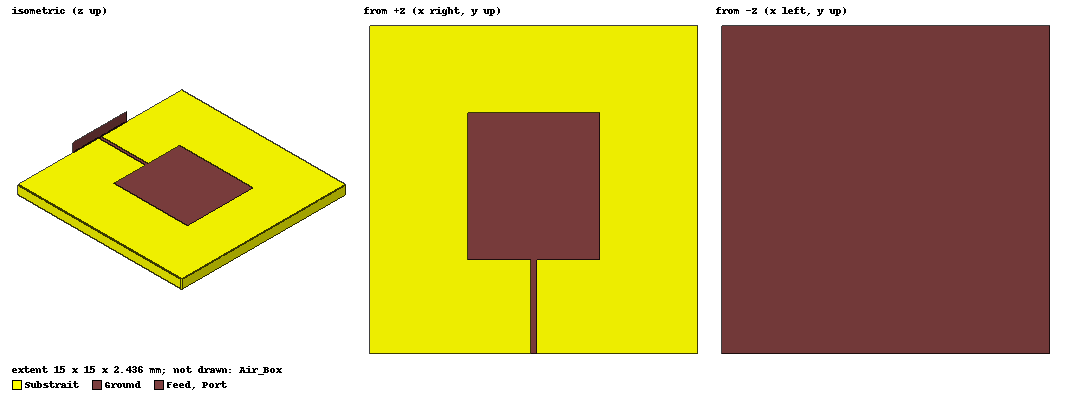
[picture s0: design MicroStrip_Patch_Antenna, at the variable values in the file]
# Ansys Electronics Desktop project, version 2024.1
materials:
  vacuum: permittivity=1
  FR4_epoxy: permittivity=4.4 dielectric_loss_tangent=0.02

design MicroStrip_Patch_Antenna (HFSS, HFSS Modal Network, model units mm)
options: Save_Adaptive_support_files
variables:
  W_gnd = 15mm
  L_gnd = 15mm
  h = 0.812mm
  Feed_Len = 4.29454mm
  Feed_Width = 0.25mm
  Patch_Width = 6mm
  Patch_Length = 6.73mm
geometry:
  Substrait [FR4_epoxy] = box(corner=(0mm, 0mm, 0mm), size=(W_gnd, L_gnd, h))
  Ground = rectangle(corner=(0mm, 0mm, 0mm), x_size=W_gnd, y_size=L_gnd)
  Feed = rectangle(corner=((W_gnd-Feed_Width)/2, 0mm, h), x_size=Feed_Width, y_size=Feed_Len)
  Patch = rectangle(corner=((W_gnd-Patch_Width)/2, Feed_Len, h), x_size=Patch_Width, y_size=Patch_Length)
  Air_Box [vacuum] = box(corner=(-0.5*W_gnd, -0.5*L_gnd, -5*h), size=(2*W_gnd, 2*L_gnd, 20*h))
  Port = rectangle(corner=((W_gnd-20*Feed_Width)/2, 0mm, -h), z_size=3*h, x_size=20*Feed_Width)
  Feed.unite(Patch)
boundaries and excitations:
  PerfE1: Perfect E Objects=[Feed, Ground]
  Rad1: Radiation Objects=Air_Box
  1: Lumped Port Objects=Port LumpedPortType=Modal Modes{Mode1{IntLine{(7.5, 0, -0.812) -> (7.5, 0, 1.624)} CharImp=Zpi RenormImp=50ohm}} Impedance=50ohm
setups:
  Setup1: HfssDriven Frequency=10GHz MaxDeltaS=0.02 MaximumPasses=20 MinimumPasses=1 MinimumConvergedPasses=1 PercentRefinement=30 BasisOrder=1 PortAccuracy=2 DrivenSolverType="Direct Solver"
    sweep Sweep: 9GHz to 11GHz, 21 points; Type=Interpolating InterpTolerance=0.5 InterpMaxSolns=250 InterpUsePortImped=false PassivityErrorTolerance=0.0001
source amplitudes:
  1:1: 1W 0deg
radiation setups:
  Infinite Sphere1: Infinite Sphere Theta=-180deg..180deg step 2deg Phi=0deg..180deg step 90deg
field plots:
  Mag_Jsurf1: Jsurf over Feed.face(at (7.5, 5.51227, 0.812)) on Setup1 : LastAdaptive at Freq=10GHz Phase=0deg
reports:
  S11: dB(S(1,1)) vs Freq on Setup1 : Sweep; markers m1 at 10GHz, MY1 at y=-10
  Gain_2D: dB(GainTotal) vs Theta on Setup1 : LastAdaptive, Infinite Sphere1 [Phi=0deg,90deg Freq=10GHz]; markers m1 at 2deg, m2 at 180deg, m3 at 46deg, m4 at -48deg
  VSWR: mag(VSWR(1)) vs Freq on Setup1 : Sweep; markers MY1 at y=2
  Gain_3D: dB(GainTotal) vs Phi, Theta on Setup1 : LastAdaptive, Infinite Sphere1 [Freq=10GHz]
  Gain Plot 1: dB(GainPhi), dB(GainTheta) vs Theta on Setup1 : LastAdaptive, Infinite Sphere1 [Phi=0deg Freq=10GHz]; markers m1 at 0deg
  Z Parameter Plot 1: re(Z(1,1)), im(Z(1,1)) vs Freq on Setup1 : Sweep; markers MX1 at x=1.0001425e+10
  Antenna Params Plot 1: RadiatedPower vs Freq on Setup1 : LastAdaptive [Patch_Width=all Patch_Length=all]
  Antenna Params Plot 2: RadiationEfficiency vs Freq on Setup1 : LastAdaptive [Patch_Width=all Patch_Length=all]
